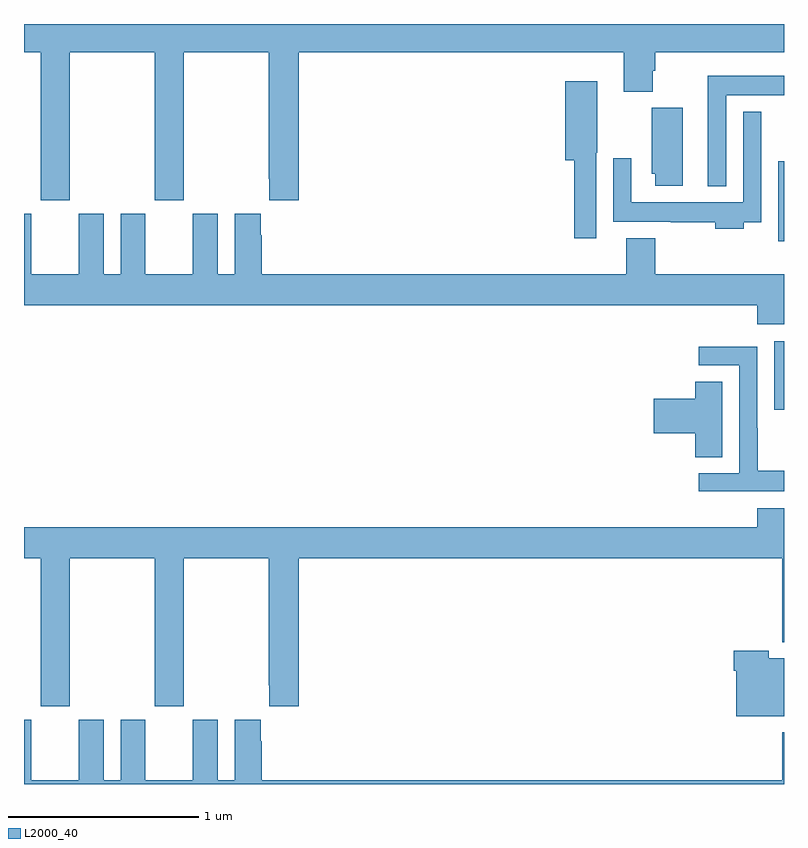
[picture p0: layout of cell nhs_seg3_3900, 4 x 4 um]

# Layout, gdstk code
import gdstk
lib = gdstk.Library(unit=1e-6, precision=1e-09)
def R(c, l, rs):  # rectangles x0, y0, x1, y1
    for r in rs: c.add(gdstk.rectangle(r[:2], r[2:], *l))
def P(c, l, *ps):  # polygons
    for p in ps: c.add(gdstk.Polygon(p, *l))
L2000_40 = (2000, 40)

nhs_seg3_3900 = lib.new_cell('nhs_seg3_3900')
R(nhs_seg3_3900, L2000_40, [(316.949,696.369,317,696.73), (316.97,697.256,317,697.678)])
P(nhs_seg3_3900, L2000_40, [(313.242,698.252),(313.687,698.252),(313.687,697.473),(313.842,697.473),(313.842,698.252),(314.287,698.252),(314.287,697.585),(314.291,697.585),(314.291,697.473),(314.447,697.473),(314.447,698.252),(316.157,698.252),(316.157,698.044),(316.309,698.044),(316.309,698.153),(316.322,698.153),(316.322,698.252),(317,698.252),(317,698.4),(313,698.4),(313,698.252),(313.087,698.252),(313.087,697.473),(313.242,697.473)],
  [(316.695,698.024),(317,698.024),(317,698.128),(316.598,698.128),(316.598,697.547),(316.695,697.547)],
  [(316.011,697.722),(316.018,697.722),(316.018,698.098),(315.848,698.098),(315.848,697.682),(315.895,697.682),(315.895,697.272),(316.011,697.272)],
  [(316.468,697.959),(316.304,697.959),(316.304,697.611),(316.322,697.611),(316.322,697.548),(316.468,697.548)],
  [(316.789,697.356),(316.881,697.356),(316.881,697.939),(316.785,697.939),(316.785,697.462),(316.197,697.462),(316.197,697.693),(316.101,697.693),(316.101,697.358),(316.405,697.358),(316.405,697.356),(316.637,697.356),(316.637,697.322),(316.789,697.322)],
  [(313.508,697.402),(313.508,697.084),(313.42,697.084),(313.42,697.402),(313.289,697.402),(313.289,697.084),(313.039,697.084),(313.039,697.402),(313,697.402),(313,696.92),(316.859,696.92),(316.859,696.821),(317,696.821),(317,697.084),(316.322,697.084),(316.322,697.273),(316.169,697.273),(316.169,697.084),(314.252,697.084),(314.252,697.289),(314.245,697.289),(314.245,697.402),(314.108,697.402),(314.108,697.084),(314.02,697.084),(314.02,697.402),(313.889,697.402),(313.889,697.084),(313.639,697.084),(313.639,697.402)],
  [(317,696.049),(316.863,696.049),(316.863,696.272),(316.86,696.272),(316.86,696.702),(316.551,696.702),(316.551,696.603),(316.764,696.603),(316.764,696.036),(316.551,696.036),(316.551,695.94),(317,695.94)],
  [(316.675,696.518),(316.532,696.518),(316.532,696.428),(316.314,696.428),(316.314,696.245),(316.532,696.245),(316.532,696.121),(316.675,696.121)],
  [(313.242,695.588),(313.687,695.588),(313.687,694.809),(313.842,694.809),(313.842,695.588),(314.287,695.588),(314.287,694.921),(314.291,694.921),(314.291,694.809),(314.447,694.809),(314.447,695.588),(316.991,695.588),(316.991,695.147),(317,695.147),(317,695.851),(316.859,695.851),(316.859,695.752),(313,695.752),(313,695.588),(313.087,695.588),(313.087,694.809),(313.242,694.809)],
  [(317,695.062),(316.919,695.062),(316.919,695.101),(316.736,695.101),(316.736,694.997),(316.748,694.997),(316.748,694.757),(317,694.757)],
  [(317,694.672),(316.991,694.672),(316.991,694.42),(314.252,694.42),(314.252,694.625),(314.245,694.625),(314.245,694.738),(314.108,694.738),(314.108,694.42),(314.02,694.42),(314.02,694.738),(313.889,694.738),(313.889,694.42),(313.639,694.42),(313.639,694.738),(313.508,694.738),(313.508,694.42),(313.42,694.42),(313.42,694.738),(313.289,694.738),(313.289,694.42),(313.039,694.42),(313.039,694.738),(313,694.738),(313,694.4),(317,694.4)])

lib.write_gds('nhs_seg3_3900.gds')
